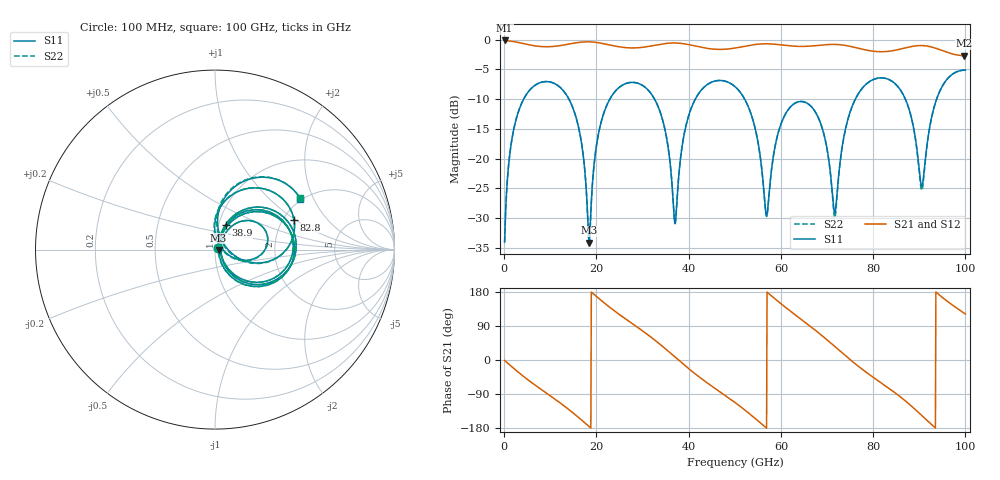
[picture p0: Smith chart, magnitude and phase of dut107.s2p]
! Touchstone file exported from HFSS 2026.1.0
!  File:  C:/ffzhzh/LocalFiles/Ansys_Project_Files/temp_train_TSV_RDL_107_1783634365_29156.aedt
!  Generated:  06:07:17 AM Jul 10, 2026
!  Design:  TSV_RDL
!  Project:  temp_train_TSV_RDL_107_1783634365_29156
! Variables:
!  h_bsmrdl = 3.46um
!  h_ox = 20um
!  h_rdl = 5um
!  h_sub = 50.88um
!  h_tmrdl = 2.19um
!  h_tsv = 50.88um
!  h_via = 3um
!  l_bsmrdl = 613.52um
!  l_sub = 3411.38um
!  l_tmrdl = 258.94um
!  m_sub = 200um
!  pitch = 41.61um
!  r_tsv = 9.15um
!  s_tmrdl = 10um
!  w_bsmrdl = 23.05um
!  w_sub = 500um
!  w_tmrdl = 21.97um
!  x_tsv_center1 = 269.925um
!  x_tsv_center2 = 906.495um
!  x_tsv_center3 = 1187.405um
!  x_tsv_center4 = 1823.975um
!  x_tsv_center5 = 2104.885um
!  x_tsv_center6 = 2741.455um
# GHz S MA R 50.000000
! Terminal data exported
! Port[1] = TM_RDL1_1_T1
! Port[2] = TM_RDL5_1_T1
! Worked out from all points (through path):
!   1000 points, 100 MHz to 100 GHz, reference 50 ohm
!   highest |S21| = -0.15 dB at 100 MHz (marker M1); lowest = -2.7 dB at 99.8 GHz (marker M2)
!   group delay of S21, straight-line fit = 26.6 ps
!   lowest |S11| = -34.1 dB at 18.4 GHz (marker M3), VSWR 1.04, Z = 52 - j0.161 ohm
!   |S11| at or under -10 dB: 14.04 GHz to 22.92 GHz (8.883 GHz wide, 48.1 % of centre); 32.6 GHz to 41.45 GHz (8.849 GHz wide, 23.9 % of centre); 52.13 GHz to 76.15 GHz (24.01 GHz wide, 37.4 % of centre) (the widest 3 of 5)
!   |S22| runs from -34.7 to -5.1 dB; largest |S21 - S12| = 2.6e-14
!   S11 on the Smith chart (normalised r, x): 100 MHz: 1.04, +0.02; 38.9 GHz: 1.08, +0.31; 82.8 GHz: 2.28, +0.98; 100 GHz: 1.95, +1.59
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0.1  0.01987 29.0  0.9828 -1.2  0.9828 -1.2  0.01987 29.0
! Gamma 0 0 0 0
! Port Impedance 50 0 50 0
2  0.17 60.8  0.9622 -21.4  0.9622 -21.4  0.17 60.8
5.8  0.3856 28.4  0.8974 -58.2  0.8974 -58.2  0.3856 28.4
11.8  0.4066 -21.3  0.8856 -110.2  0.8856 -110.2  0.4066 -21.4
16.8  0.1331 -62.7  0.9519 -158.6  0.9519 -158.6  0.133 -63.2
18.4  0.01966 -4.5  0.9565 -175.4  0.9565 -175.4  0.01835 -5.2
23.1  0.3252 43.0  0.8965 137.1  0.8965 137.1  0.3251 43.2
33.4  0.2721 -41.5  0.9062 45.4  0.9062 45.4  0.2722 -41.4
37  0.02844 -2.1  0.936 8.3  0.936 8.3  0.02896 -2.1
38.9  0.1507 66.8  0.9227 -11.6  0.9227 -11.6  0.1508 66.6
50.1  0.4006 -21.3  0.8489 -112.7  0.8489 -112.7  0.4005 -21.5
56.9  0.03305 0.7  0.9212 -179.9  0.9212 -179.9  0.03257 0.8
60.5  0.217 46.9  0.8977 143.8  0.8977 143.8  0.2171 46.7
66.7  0.2703 -2.6  0.8831 85.8  0.8831 85.8  0.2703 -3.2
71.7  0.03498 35.4  0.9104 35.5  0.9104 35.5  0.03162 35.0
75.5  0.2779 78.2  0.8686 -4.0  0.8686 -4.0  0.2773 78.8
82.8  0.4706 20.9  0.7933 -69.4  0.7933 -69.4  0.4702 20.8
83.4  0.4617 16.2  0.7974 -74.6  0.7974 -74.6  0.4613 16.2
90.5  0.05864 28.0  0.8906 -146.1  0.8906 -146.1  0.05413 27.9
94  0.335 75.8  0.8343 175.2  0.8343 175.2  0.3345 76.6
99.8  0.5531 32.1  0.7327 123.0  0.7327 123.0  0.5532 32.5
100  0.553 30.8  0.7329 121.4  0.7329 121.4  0.5531 31.2
